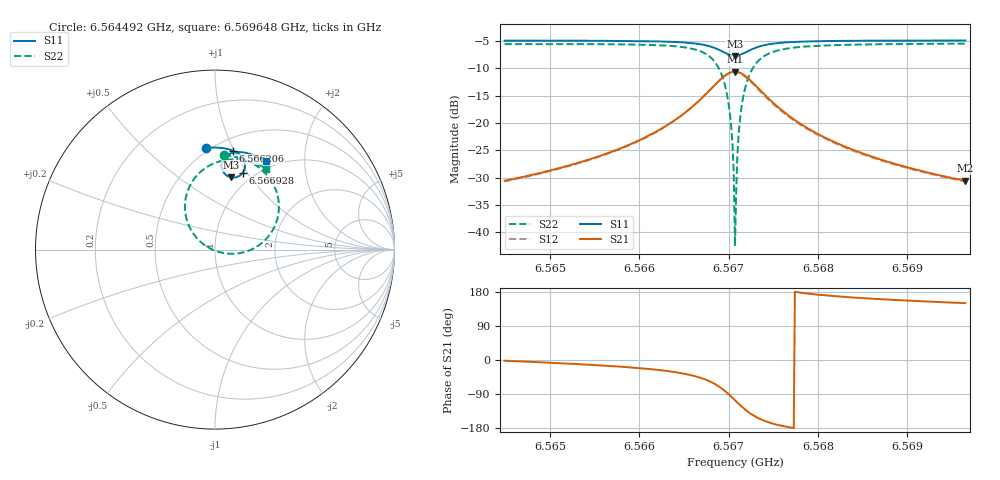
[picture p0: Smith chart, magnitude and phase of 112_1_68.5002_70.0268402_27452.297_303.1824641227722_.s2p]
#  HZ  S  RI  R  50.00
! Rohde & Schwarz Vector Network Analyzer
! Rohde-Schwarz,ZNB20-2Port,1311601062101988,3.16
! Created: UTC 3/20/2024, 4:53:36 PM
! freq[Hz]  re:S11  im:S11  re:S21  im:S21  re:S12  im:S12  re:S22  im:S22
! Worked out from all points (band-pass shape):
!   401 points, 6.564492 GHz to 6.569648 GHz, reference 50 ohm
!   highest |S21| = -10.58 dB at 6.56707 GHz (marker M1); lowest = -30.6 dB at 6.569648 GHz (marker M2)
!   |S21| within 3 dB of the highest: 6.566812 GHz to 6.567328 GHz (515.9 kHz wide, 0.00786 % of centre)
!   lowest |S11| = -7.7 dB at 6.56707 GHz (marker M3), VSWR 2.40, Z = 41.7 + j40.5 ohm
!   |S11| at or under -10 dB: nowhere
!   |S22| runs from -42.6 to -5.4 dB; largest |S21 - S12| = 0.015
!   S11 on the Smith chart (normalised r, x): 6.564492 GHz: 0.47, +0.79; 6.566206 GHz: 0.62, +0.99; 6.566928 GHz: 0.88, +0.95; 6.569648 GHz: 0.89, +1.31
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6.5644919e9  -0.0517 0.567  0.0296 -0.000993  0.0291 -0.0016  0.0505 0.5262
6.5653556e9  0.0199 0.5676  0.0434 -0.0088  0.0425 -0.00938  0.1348 0.5109
6.5662064e9  0.1016 0.5506  0.0762 -0.0375  0.0751 -0.0384  0.2535 0.4505
6.5662193e9  0.1031 0.5501  0.0772 -0.0384  0.076 -0.0392  0.2559 0.4484
6.566722e9  0.1627 0.494  0.1135 -0.1354  0.1106 -0.1383  0.3554 0.2593
6.566838e9  0.1671 0.4599  0.1019 -0.1955  0.0968 -0.1993  0.3385 0.1447
6.5669282e9  0.1537 0.4266  0.0614 -0.2521  0.0522 -0.2555  0.2638 0.0391
6.5670056e9  0.1228 0.4046  -0.00832 -0.2871  -0.0211 -0.2863  0.1347 -0.0203
6.5670314e9  0.1092 0.4015  -0.0377 -0.2903  -0.0507 -0.2872  0.0818 -0.023
6.5670443e9  0.1019 0.4011  -0.0525 -0.2898  -0.0659 -0.2856  0.0551 -0.0205
6.5670572e9  0.0948 0.4014  -0.0676 -0.2876  -0.0806 -0.2823  0.0286 -0.0149
6.56707e9  0.0875 0.4027  -0.0823 -0.2841  -0.0952 -0.2776  0.00254 -0.00699
6.5670958e9  0.0739 0.4075  -0.1106 -0.2727  -0.1222 -0.2641  -0.0455 0.017
6.5671087e9  0.0676 0.411  -0.1233 -0.2652  -0.1343 -0.2555  -0.0673 0.0321
6.5671216e9  0.0619 0.4151  -0.1355 -0.2564  -0.1455 -0.2458  -0.0868 0.0493
6.5671474e9  0.0521 0.4248  -0.1559 -0.2364  -0.164 -0.2249  -0.1195 0.0873
6.567199e9  0.0401 0.4473  -0.1825 -0.1914  -0.1864 -0.1791  -0.1584 0.17
6.5672634e9  0.0377 0.4747  -0.1924 -0.1377  -0.1924 -0.1268  -0.1661 0.2647
6.5675083e9  0.0759 0.5302  -0.1474 -0.0289  -0.144 -0.0245  -0.0627 0.448
6.5679337e9  0.1388 0.5436  -0.0844 0.00896  -0.0822 0.0102  0.0778 0.5014
6.5687974e9  0.2215 0.5244  -0.0408 0.0154  -0.04 0.0157  0.2092 0.4853
6.5696482e9  0.2856 0.4948  -0.0256 0.0148  -0.025 0.0148  0.2867 0.4508
